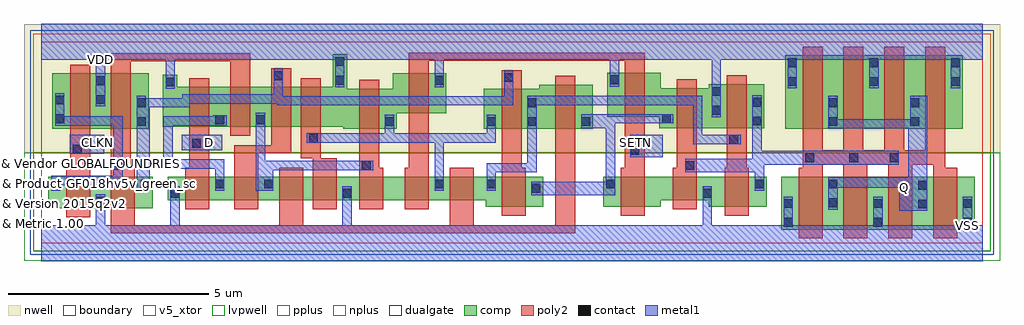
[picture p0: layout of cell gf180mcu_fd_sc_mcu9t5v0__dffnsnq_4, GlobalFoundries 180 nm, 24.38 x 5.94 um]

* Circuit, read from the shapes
.subckt gf180mcu_fd_sc_mcu9t5v0__dffnsnq_4 CLKN D Q SETN VDD VSS
XM1 VSS CLKN n1 VSUBS nfet_05v0 w=0.79u l=0.6u
XM2 n2 n1 VSS VSUBS nfet_05v0 w=0.79u l=0.6u
XM3 n3 D VSS VSUBS nfet_05v0 w=0.59u l=0.6u
XM4 n4 n2 n3 VSUBS nfet_05v0 w=0.59u l=0.6u
XM5 n5 n1 n4 VSUBS nfet_05v0 w=0.59u l=0.6u
XM6 VSS n6 n5 VSUBS nfet_05v0 w=0.59u l=0.6u
XM7 n7 n4 VSS VSUBS nfet_05v0 w=0.59u l=0.6u
XM8 n6 SETN n7 VSUBS nfet_05v0 w=0.59u l=0.6u
XM9 n8 n1 n6 VSUBS nfet_05v0 w=0.59u l=0.6u
XM10 n9 n2 n8 VSUBS nfet_05v0 w=0.75u l=0.6u
XM11 n10 SETN n9 VSUBS nfet_05v0 w=0.75u l=0.6u
XM12 VSS n11 n10 VSUBS nfet_05v0 w=0.59u l=0.6u
XM13 n11 n8 VSS VSUBS nfet_05v0 w=0.75u l=0.6u
XM14 Q n11 VSS VSUBS nfet_05v0 w=1.32u l=0.6u m=4
XM15 VDD CLKN n1 n12 pfet_05v0 w=1.38u l=0.5u
XM16 n2 n1 VDD n12 pfet_05v0 w=1.38u l=0.5u
XM17 n3 D VDD n12 pfet_05v0 w=1u l=0.5u
XM18 n4 n1 n3 n12 pfet_05v0 w=1u l=0.5u
XM19 n13 n2 n4 n12 pfet_05v0 w=1u l=0.5u
XM20 VDD n6 n13 n12 pfet_05v0 w=1u l=0.5u
XM21 n6 n4 VDD n12 pfet_05v0 w=1u l=0.5u
XM22 VDD SETN n6 n12 pfet_05v0 w=1u l=0.5u
XM23 n8 n2 n6 n12 pfet_05v0 w=1u l=0.5u
XM24 n9 n1 n8 n12 pfet_05v0 w=1.1u l=0.5u
XM25 n9 SETN VDD n12 pfet_05v0 w=1.1u l=0.5u
XM26 VDD n11 n9 n12 pfet_05v0 w=1u l=0.5u
XM27 n11 n8 VDD n12 pfet_05v0 w=1.1u l=0.5u
XM28 Q n11 VDD n12 pfet_05v0 w=1.83u l=0.5u m=4
.ends

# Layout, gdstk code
import gdstk
lib = gdstk.Library(unit=1e-6, precision=1e-09)
def R(c, l, rs):  # rectangles x0, y0, x1, y1
    for r in rs: c.add(gdstk.rectangle(r[:2], r[2:], *l))
def A(c, l, x, y, w, h, nx, ny, dx, dy):  # array of equal rectangles
    R(c, l, [(x+i*dx, y+j*dy, x+i*dx+w, y+j*dy+h) for i in range(nx) for j in range(ny)])
def P(c, l, *ps):  # polygons
    for p in ps: c.add(gdstk.Polygon(p, *l))
boundary = (0, 0)
nwell = (21, 0)
comp = (22, 0)
poly2 = (30, 0)
pplus = (31, 0)
nplus = (32, 0)
contact = (33, 0)
metal1 = (34, 0)
dualgate = (55, 0)
v5_xtor = (112, 1)
lvpwell = (204, 0)

gf180mcu_fd_sc_mcu9t5v0_ = lib.new_cell('gf180mcu_fd_sc_mcu9t5v0__dffnsnq_4')
R(gf180mcu_fd_sc_mcu9t5v0_, boundary, [(0,0,23.52,5.04)])
R(gf180mcu_fd_sc_mcu9t5v0_, nwell, [(-0.43,2.265,23.95,5.47)])
R(gf180mcu_fd_sc_mcu9t5v0_, comp, [(18.48,0.345,23.32,1.665), (0.18,0.875,2.78,1.665), (0.28,2.865,2.68,4.245), (18.58,2.865,23.02,4.695)])
P(gf180mcu_fd_sc_mcu9t5v0_, comp, [(7.54,2.865),(7.54,2.91),(3.04,2.91),(3.04,4.21),(3.4,4.21),(3.4,3.91),(7.28,3.91),(7.28,4.725),(7.64,4.725),(7.64,3.865),(8.78,3.865),(8.78,4.255),(10.12,4.255),(10.12,3.255),(8.88,3.255),(8.88,2.865)],
  [(11.1,0.915),(11.1,1.075),(3.16,1.075),(3.16,1.665),(12.54,1.665),(12.54,0.915)],
  [(11.06,2.865),(11.06,3.865),(12.44,3.865),(12.44,3.965),(13.78,3.965),(13.78,2.865)],
  [(15.44,2.875),(15.44,3.165),(14.14,3.165),(14.14,4.265),(15.48,4.265),(15.48,3.875),(16.68,3.875),(16.68,3.975),(18.06,3.975),(18.06,2.875)],
  [(14.04,0.915),(14.04,1.665),(18.12,1.665),(18.12,0.915),(16.68,0.915),(16.68,1.075),(15.48,1.075),(15.48,0.915)])
P(gf180mcu_fd_sc_mcu9t5v0_, poly2, [(0.62,0.655),(0.62,1.885),(0.72,1.885),(0.72,4.465),(1.22,4.465),(1.22,0.655)],
  [(3.6,0.855),(3.6,1.885),(3.7,1.885),(3.7,4.13),(4.2,4.13),(4.2,0.855)],
  [(4.82,0.855),(4.82,2.45),(5.74,2.45),(5.74,4.37),(6.24,4.37),(6.24,2.25),(5.42,2.25),(5.42,0.855)],
  [(6.78,0.855),(6.78,2.125),(6.48,2.125),(6.48,4.13),(6.98,4.13),(6.98,2.125),(7.38,2.125),(7.38,0.855)],
  [(7.94,0.855),(7.94,4.085),(8.44,4.085),(8.44,1.885),(8.54,1.885),(8.54,0.855)],
  [(11.5,0.695),(11.5,4.325),(12,4.325),(12,1.885),(12.1,1.885),(12.1,0.695)],
  [(1.74,0.255),(1.74,4.745),(5.22,4.745),(5.22,2.69),(4.72,2.69),(4.72,4.545),(2.24,4.545),(2.24,1.885),(2.34,1.885),(2.34,0.455),(5.94,0.455),(5.94,1.885),(6.54,1.885),(6.54,0.455),(10.2,0.455),(10.2,1.885),(10.8,1.885),(10.8,0.455),(12.84,0.455),(12.84,4.185),(13.34,4.185),(13.34,0.255)],
  [(14.48,0.695),(14.48,1.885),(14.58,1.885),(14.58,4.565),(9.68,4.565),(9.68,0.855),(9.08,0.855),(9.08,1.885),(9.18,1.885),(9.18,4.765),(15.08,4.765),(15.08,0.695)],
  [(15.78,0.855),(15.78,1.885),(15.88,1.885),(15.88,4.095),(16.38,4.095),(16.38,0.855)],
  [(17.08,0.695),(17.08,1.885),(17.12,1.885),(17.12,4.195),(17.62,4.195),(17.62,1.885),(17.68,1.885),(17.68,0.695)],
  [(18.92,0.125),(18.92,1.885),(19.02,1.885),(19.02,4.915),(19.52,4.915),(19.52,2.325),(20.04,2.325),(20.04,4.915),(20.54,4.915),(20.54,2.325),(21.06,2.325),(21.06,4.915),(21.56,4.915),(21.56,2.325),(22.08,2.325),(22.08,4.915),(22.58,4.915),(22.58,1.885),(22.88,1.885),(22.88,0.125),(22.28,0.125),(22.28,1.965),(21.76,1.965),(21.76,0.125),(21.16,0.125),(21.16,1.965),(20.64,1.965),(20.64,0.125),(20.04,0.125),(20.04,1.965),(19.52,1.965),(19.52,0.125)])
R(gf180mcu_fd_sc_mcu9t5v0_, pplus, [(-0.2,2.265,23.72,5.24)])
R(gf180mcu_fd_sc_mcu9t5v0_, nplus, [(-0.2,-0.2,23.72,2.265)])
A(gf180mcu_fd_sc_mcu9t5v0_, contact, 18.55, 0.415, 0.22, 0.22, 3, 2, 2.24, 0.47)
A(gf180mcu_fd_sc_mcu9t5v0_, contact, 18.65, 3.935, 0.22, 0.22, 3, 2, 2.04, 0.47)
R(gf180mcu_fd_sc_mcu9t5v0_, contact, [(21.91,0.875,22.13,1.095), (19.67,0.905,19.89,1.125), (1.37,0.945,1.59,1.165), (3.23,1.145,3.45,1.365), (7.53,1.145,7.75,1.365), (16.53,1.145,16.75,1.365), (12.25,1.265,12.47,1.485), (21.91,1.345,22.13,1.565), (0.25,1.375,0.47,1.595), (2.49,1.375,2.71,1.595), (4.35,1.375,4.57,1.595), (5.57,1.375,5.79,1.595), (9.83,1.375,10.05,1.595), (11.13,1.375,11.35,1.595), (14.11,1.375,14.33,1.595), (17.83,1.375,18.05,1.595), (19.67,1.375,19.89,1.595), (1.81,1.835,2.03,2.055), (8.01,1.835,8.23,2.055), (16.09,1.835,16.31,2.055), (19.09,2.03,19.31,2.25), (20.19,2.03,20.41,2.25), (21.2,2.03,21.42,2.25), (14.715,2.21,14.935,2.43), (0.79,2.245,1.01,2.465), (3.77,2.39,3.99,2.61), (17.19,2.485,17.41,2.705), (6.69,2.52,6.91,2.74), (2.39,2.935,2.61,3.155), (8.59,2.935,8.81,3.155), (11.13,2.935,11.35,3.155), (12.15,2.935,12.37,3.155), (13.49,2.935,13.71,3.155), (19.67,2.935,19.89,3.155), (21.71,2.935,21.93,3.155), (17.77,2.945,17.99,3.165), (4.35,2.98,4.57,3.2), (5.37,2.98,5.59,3.2), (0.35,3,0.57,3.22), (15.51,3,15.73,3.22), (16.75,3.215,16.97,3.435), (2.39,3.405,2.61,3.625), (12.15,3.405,12.37,3.625), (19.67,3.405,19.89,3.625), (21.71,3.405,21.93,3.625), (17.77,3.415,17.99,3.635), (0.35,3.47,0.57,3.69), (1.37,3.485,1.59,3.705), (16.75,3.685,16.97,3.905), (3.11,3.92,3.33,4.14), (1.37,3.955,1.59,4.175), (7.35,3.965,7.57,4.185), (9.83,3.965,10.05,4.185), (14.21,3.975,14.43,4.195), (11.57,4.035,11.79,4.255), (5.81,4.08,6.03,4.3), (7.35,4.435,7.57,4.655)])
R(gf180mcu_fd_sc_mcu9t5v0_, metal1, [(14.71,2.15,15.53,2.71), (0.71,2.24,1.575,2.71), (3.51,2.33,4.525,2.71)])
P(gf180mcu_fd_sc_mcu9t5v0_, metal1, [(0.245,1.315),(0.245,1.685),(1.805,1.685),(1.805,2.94),(0.345,2.94),(0.345,3.75),(0.575,3.75),(0.575,3.17),(2.035,3.17),(2.035,1.455),(0.475,1.455),(0.475,1.315)],
  [(4.345,1.315),(4.345,1.87),(3.05,1.87),(3.05,3.17),(4.29,3.17),(4.29,3.205),(4.63,3.205),(4.63,2.94),(3.28,2.94),(3.28,2.1),(4.575,2.1),(4.575,1.315)],
  [(5.365,1.315),(5.365,3.26),(5.595,3.26),(5.595,2.06),(8.29,2.06),(8.29,1.83),(5.795,1.83),(5.795,1.315)],
  [(9.825,1.315),(9.825,2.515),(6.63,2.515),(6.63,2.745),(8.585,2.745),(8.585,3.215),(8.815,3.215),(8.815,2.745),(11.125,2.745),(11.125,3.215),(11.355,3.215),(11.355,2.515),(10.055,2.515),(10.055,1.315)],
  [(2.385,1.315),(2.385,3.685),(2.615,3.685),(2.615,3.63),(3.52,3.63),(3.52,3.72),(5.805,3.72),(5.805,4.36),(6.035,4.36),(6.035,3.675),(11.565,3.675),(11.565,4.315),(11.795,4.315),(11.795,3.445),(5.895,3.445),(5.895,3.49),(3.705,3.49),(3.705,3.4),(2.715,3.4),(2.715,1.315)],
  [(12.245,1.205),(12.245,1.545),(14.105,1.545),(14.105,2.875),(13.485,2.875),(13.485,3.225),(15.79,3.225),(15.79,2.995),(14.335,2.995),(14.335,1.205)],
  [(11.125,1.315),(11.125,2.005),(12.145,2.005),(12.145,3.685),(16.515,3.685),(16.515,2.71),(17.47,2.71),(17.47,2.48),(16.285,2.48),(16.285,3.455),(12.375,3.455),(12.375,1.775),(11.355,1.775),(11.355,1.315)],
  [(17.825,1.315),(17.825,1.775),(16.085,1.775),(16.085,2.115),(17.765,2.115),(17.765,3.695),(17.995,3.695),(17.995,2.32),(21.425,2.32),(21.425,1.96),(18.055,1.96),(18.055,1.315)],
  [(21.43,0.815),(21.43,1.395),(19.895,1.395),(19.895,0.845),(19.665,0.845),(19.665,1.655),(21.655,1.655),(21.655,2.875),(19.665,2.875),(19.665,3.685),(19.895,3.685),(19.895,3.105),(21.705,3.105),(21.705,3.685),(22.135,3.685),(22.135,0.815)],
  [(0,-0.45),(0,0.45),(1.365,0.45),(1.365,1.225),(1.595,1.225),(1.595,0.45),(3.225,0.45),(3.225,1.425),(3.455,1.425),(3.455,0.45),(7.525,0.45),(7.525,1.425),(7.755,1.425),(7.755,0.45),(16.525,0.45),(16.525,1.425),(16.755,1.425),(16.755,0.45),(18.545,0.45),(18.545,1.165),(18.775,1.165),(18.775,0.45),(20.785,0.45),(20.785,1.165),(21.015,1.165),(21.015,0.45),(23.025,0.45),(23.025,1.165),(23.255,1.165),(23.255,0.45),(23.52,0.45),(23.52,-0.45)],
  [(16.745,3.155),(16.745,4.59),(14.435,4.59),(14.435,3.915),(14.205,3.915),(14.205,4.59),(10.055,4.59),(10.055,3.905),(9.825,3.905),(9.825,4.59),(7.575,4.59),(7.575,3.905),(7.345,3.905),(7.345,4.59),(3.335,4.59),(3.335,3.86),(3.105,3.86),(3.105,4.59),(1.595,4.59),(1.595,3.425),(1.365,3.425),(1.365,4.59),(0,4.59),(0,5.49),(23.52,5.49),(23.52,4.59),(22.955,4.59),(22.955,3.875),(22.725,3.875),(22.725,4.59),(20.915,4.59),(20.915,3.875),(20.685,3.875),(20.685,4.59),(18.875,4.59),(18.875,3.875),(18.645,3.875),(18.645,4.59),(16.975,4.59),(16.975,3.155)])
R(gf180mcu_fd_sc_mcu9t5v0_, dualgate, [(-0.28,-0.28,23.8,5.32)])
R(gf180mcu_fd_sc_mcu9t5v0_, v5_xtor, [(0,0,23.52,5.04)])
R(gf180mcu_fd_sc_mcu9t5v0_, lvpwell, [(-0.43,-0.43,23.95,2.265)])
gf180mcu_fd_sc_mcu9t5v0_.add(gdstk.Label('CLKN', (1.4,2.52), layer=34, texttype=10))
gf180mcu_fd_sc_mcu9t5v0_.add(gdstk.Label('D', (4.2,2.52), layer=34, texttype=10))
gf180mcu_fd_sc_mcu9t5v0_.add(gdstk.Label('Q', (21.56,1.4), layer=34, texttype=10))
gf180mcu_fd_sc_mcu9t5v0_.add(gdstk.Label('SETN', (14.84,2.52), layer=34, texttype=10))
gf180mcu_fd_sc_mcu9t5v0_.add(gdstk.Label('VDD', (1.48,4.59), layer=34, texttype=10))
gf180mcu_fd_sc_mcu9t5v0_.add(gdstk.Label('VSS', (23.14,0.45), layer=34, texttype=10))
gf180mcu_fd_sc_mcu9t5v0_.add(gdstk.Label('& Vendor GLOBALFOUNDRIES', (0,2), layer=63, texttype=63))
gf180mcu_fd_sc_mcu9t5v0_.add(gdstk.Label('& Product GF018hv5v_green_sc9', (0,1.5), layer=63, texttype=63))
gf180mcu_fd_sc_mcu9t5v0_.add(gdstk.Label('& Version 2015q2v2', (0,1), layer=63, texttype=63))
gf180mcu_fd_sc_mcu9t5v0_.add(gdstk.Label('& Metric 1.00', (0,0.5), layer=63, texttype=63))

lib.write_gds('gf180mcu_fd_sc_mcu9t5v0__dffnsnq_4.gds')
